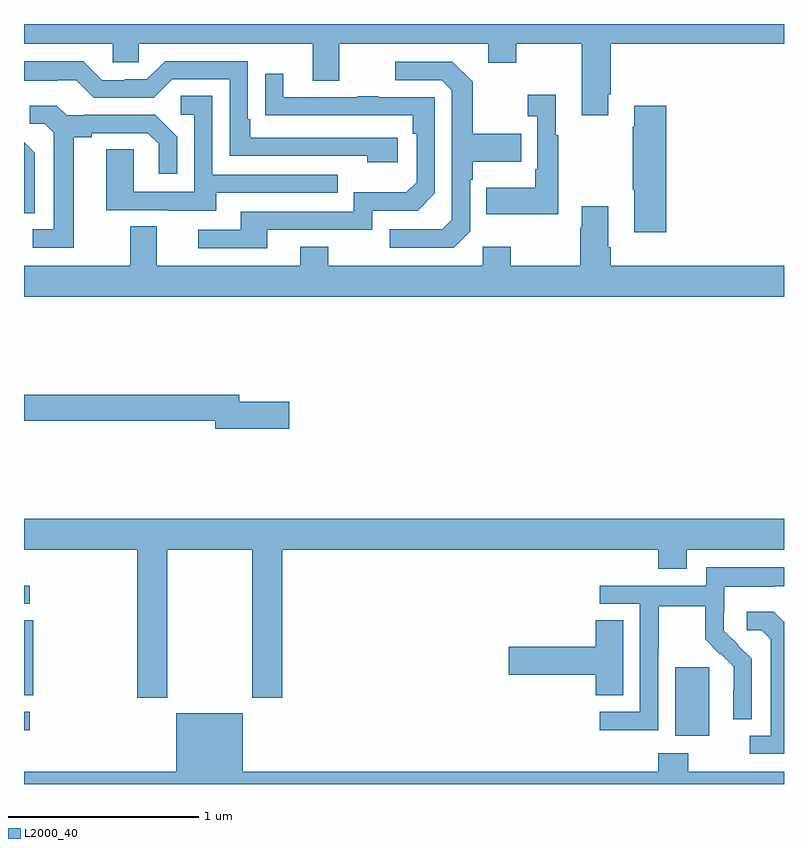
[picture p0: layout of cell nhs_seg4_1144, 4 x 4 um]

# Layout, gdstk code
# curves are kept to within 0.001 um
import gdstk
lib = gdstk.Library(unit=1e-6, precision=1e-09)
def R(c, l, rs):  # rectangles x0, y0, x1, y1
    for r in rs: c.add(gdstk.rectangle(r[:2], r[2:], *l))
def P(c, l, *ps):  # polygons
    for p in ps: c.add(gdstk.Polygon(p, *l))
L2000_40 = (2000, 40)

nhs_seg4_1144 = lib.new_cell('nhs_seg4_1144')
R(nhs_seg4_1144, L2000_40, [(172.427,817.154,172.606,817.515), (169,817.183,169.03,817.281), (169,817.366,169.049,817.763), (169,817.848,169.03,817.944)])
P(nhs_seg4_1144, L2000_40, [(172.075,820.531),(172.088,820.531),(172.088,820.796),(173,820.796),(173,820.9),(169,820.9),(169,820.796),(169.467,820.796),(169.467,820.698),(169.605,820.698),(169.605,820.796),(170.519,820.796),(170.519,820.602),(170.659,820.602),(170.659,820.796),(171.443,820.796),(171.443,820.697),(171.591,820.697),(171.591,820.796),(171.935,820.796),(171.935,820.419),(172.075,820.419)],
  [(170.968,820.302),(170.191,820.302),(170.191,820.399),(170.178,820.399),(170.178,820.704),(169.743,820.704),(169.647,820.608),(169.529,820.608),(169.529,820.605),(169.413,820.605),(169.313,820.705),(169,820.705),(169,820.601),(169.175,820.601),(169.175,820.605),(169.275,820.605),(169.368,820.512),(169.683,820.512),(169.779,820.608),(170.082,820.608),(170.082,820.206),(170.807,820.206),(170.807,820.172),(170.968,820.172)],
  [(171.348,819.81),(171.348,820.079),(171.361,820.079),(171.361,820.175),(171.617,820.175),(171.617,820.323),(171.361,820.323),(171.361,820.595),(171.255,820.701),(170.955,820.701),(170.955,820.605),(171.198,820.605),(171.252,820.551),(171.252,819.87),(171.201,819.819),(170.925,819.819),(170.925,819.723),(171.261,819.723)],
  [(170.281,819.816),(170.832,819.816),(170.832,819.918),(171.072,819.918),(171.162,820.008),(171.162,820.515),(170.867,820.515),(170.867,820.52),(170.755,820.52),(170.755,820.515),(170.365,820.515),(170.365,820.639),(170.269,820.639),(170.269,820.42),(171.046,820.419),(171.046,820.322),(171.066,820.322),(171.066,820.068),(171.013,820.015),(170.736,820.015),(170.736,819.912),(170.141,819.912),(170.141,819.816),(169.917,819.816),(169.917,819.72),(170.281,819.72)],
  [(171.811,820.315),(171.799,820.315),(171.799,820.528),(171.651,820.528),(171.651,820.415),(171.702,820.415),(171.702,820.135),(171.69,820.135),(171.69,820.039),(171.433,820.039),(171.433,819.899),(171.811,819.899)],
  [(170.011,820.011),(170.651,820.011),(170.651,820.107),(169.992,820.107),(169.992,820.523),(169.824,820.523),(169.824,820.422),(169.896,820.422),(169.896,820.017),(169.578,820.017),(169.578,820.241),(169.433,820.241),(169.433,819.921),(169.757,819.921),(169.757,819.917),(170.011,819.917)],
  [(169.261,820.304),(169.357,820.304),(169.357,820.326),(169.652,820.326),(169.709,820.269),(169.709,820.113),(169.806,820.113),(169.806,820.306),(169.69,820.422),(169.318,820.422),(169.318,820.419),(169.224,820.419),(169.172,820.471),(169.029,820.471),(169.029,820.374),(169.11,820.374),(169.157,820.327),(169.157,819.819),(169.047,819.819),(169.047,819.723),(169.261,819.723)],
  [(172.379,820.471),(172.211,820.471),(172.211,820.358),(172.204,820.358),(172.204,820.027),(172.211,820.027),(172.211,819.804),(172.379,819.804)],
  [(169.056,820.222),(169,820.278),(169,819.904),(169.056,819.904)],
  [(173,819.628),(172.088,819.628),(172.088,819.724),(172.075,819.724),(172.075,819.94),(171.935,819.94),(171.935,819.827),(171.928,819.827),(171.928,819.628),(171.561,819.628),(171.561,819.727),(171.414,819.727),(171.414,819.628),(170.601,819.628),(170.601,819.727),(170.453,819.727),(170.453,819.628),(169.699,819.628),(169.699,819.836),(169.559,819.836),(169.559,819.628),(169,819.628),(169,819.464),(173,819.464)],
  [(170.395,818.912),(170.134,818.912),(170.134,818.948),(169,818.948),(169,818.812),(170.006,818.812),(170.006,818.77),(170.395,818.77)],
  [(169.755,818.132),(170.2,818.132),(170.2,817.353),(170.36,817.353),(170.36,818.132),(172.337,818.132),(172.337,818.033),(172.489,818.033),(172.489,818.132),(173,818.132),(173,818.296),(169,818.296),(169,818.132),(169.595,818.132),(169.595,817.353),(169.755,817.353)],
  [(172.338,817.612),(172.341,817.612),(172.341,817.836),(172.585,817.836),(172.585,817.661),(172.662,817.584),(172.665,817.587),(172.736,817.517),(172.736,817.394),(172.734,817.394),(172.734,817.24),(172.83,817.24),(172.83,817.558),(172.684,817.706),(172.684,817.803),(172.686,817.803),(172.686,817.937),(172.949,817.937),(172.949,817.941),(173,817.941),(173,818.041),(172.59,818.041),(172.59,817.944),(172.029,817.944),(172.029,817.848),(172.242,817.848),(172.242,817.281),(172.029,817.281),(172.029,817.183),(172.338,817.183)],
  [(173,817.755),(172.998,817.755),(172.946,817.807),(172.803,817.807),(172.803,817.71),(172.884,817.71),(172.931,817.663),(172.931,817.155),(172.821,817.155),(172.821,817.059),(173,817.059)],
  [(172.153,817.763),(172.01,817.763),(172.01,817.622),(171.552,817.622),(171.552,817.475),(172.01,817.475),(172.01,817.366),(172.153,817.366)],
  [(173,816.964),(172.497,816.964),(172.497,817.063),(172.337,817.063),(172.337,816.964),(170.152,816.964),(170.152,817.273),(169.802,817.273),(169.802,816.964),(169,816.964),(169,816.9),(173,816.9)])

lib.write_gds('nhs_seg4_1144.gds')
